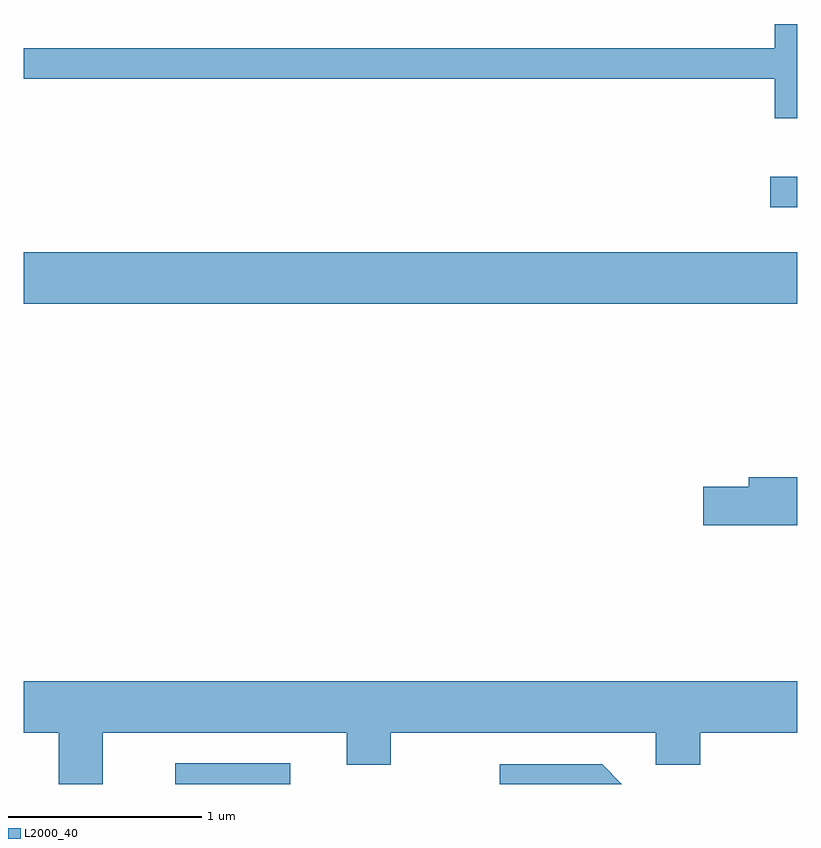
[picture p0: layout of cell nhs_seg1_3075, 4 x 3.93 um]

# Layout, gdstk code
import gdstk
lib = gdstk.Library(unit=1e-6, precision=1e-09)
def R(c, l, rs):  # rectangles x0, y0, x1, y1
    for r in rs: c.add(gdstk.rectangle(r[:2], r[2:], *l))
def P(c, l, *ps):  # polygons
    for p in ps: c.add(gdstk.Polygon(p, *l))
L2000_40 = (2000, 40)

nhs_seg1_3075 = lib.new_cell('nhs_seg1_3075')
R(nhs_seg1_3075, L2000_40, [(278.393,943.712,278.989,943.819), (277.611,946.196,281.611,946.464), (281.473,946.696,281.611,946.854)])
P(nhs_seg1_3075, L2000_40, [(281.611,947.644),(281.496,947.644),(281.496,947.519),(277.611,947.519),(277.611,947.361),(281.496,947.361),(281.496,947.156),(281.611,947.156)],
  [(281.611,945.299),(281.361,945.299),(281.361,945.249),(281.126,945.249),(281.126,945.051),(281.611,945.051)],
  [(278.019,943.976),(279.281,943.976),(279.281,943.811),(279.509,943.811),(279.509,943.976),(280.881,943.976),(280.881,943.811),(281.109,943.811),(281.109,943.976),(281.611,943.976),(281.611,944.244),(277.611,944.244),(277.611,943.976),(277.791,943.976),(277.791,943.712),(278.019,943.712)],
  [(280.602,943.814),(280.073,943.814),(280.073,943.712),(280.704,943.712)])

lib.write_gds('nhs_seg1_3075.gds')
